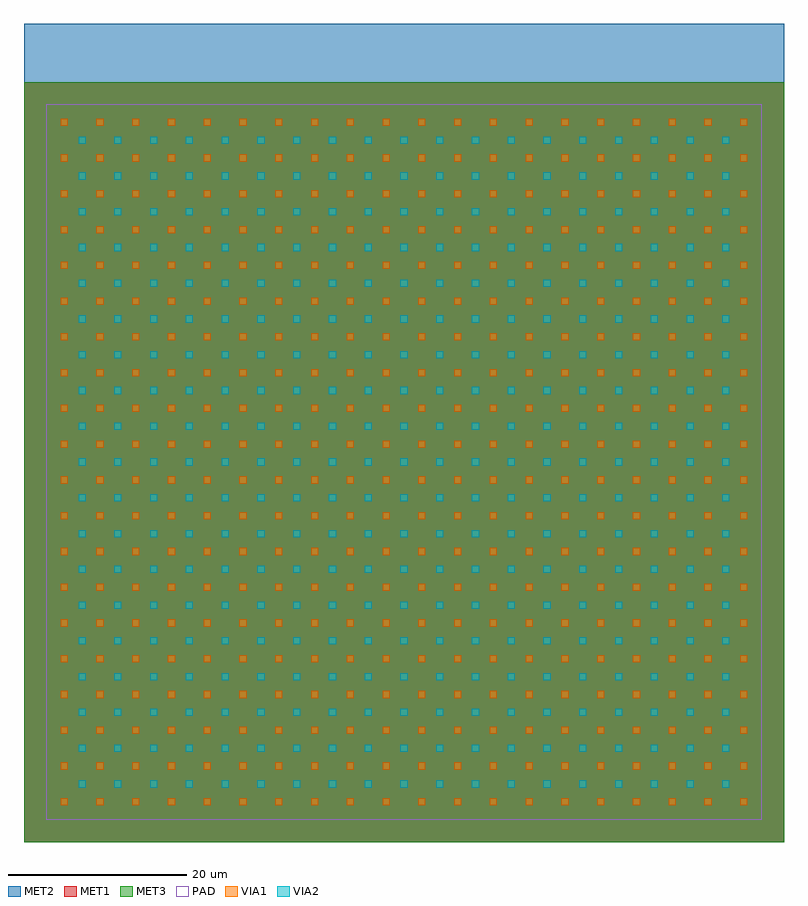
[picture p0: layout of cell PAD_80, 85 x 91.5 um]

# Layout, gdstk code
import gdstk
lib = gdstk.Library(unit=1e-6, precision=1e-09)
def R(c, l, rs):  # rectangles x0, y0, x1, y1
    for r in rs: c.add(gdstk.rectangle(r[:2], r[2:], *l))
MET1 = (32, 0)
VIA1 = (33, 0)
MET2 = (34, 0)
VIA2 = (35, 0)
MET3 = (36, 0)
PAD = (37, 0)

via2_array_cdns_70467682 = lib.new_cell('via2_array_CDNS_704676826052')
R(via2_array_cdns_70467682, MET2, [(0,0,2,2)])
R(via2_array_cdns_70467682, VIA2, [(0.6,0.6,1.4,1.4)])
R(via2_array_cdns_70467682, MET3, [(0,0,2,2)])

via1_array_cdns_70467682 = lib.new_cell('via1_array_CDNS_704676826051')
R(via1_array_cdns_70467682, MET1, [(0,0,2,2)])
R(via1_array_cdns_70467682, VIA1, [(0.6,0.6,1.4,1.4)])
R(via1_array_cdns_70467682, MET2, [(0,0,2,2)])

pad80_cdns_704676826050 = lib.new_cell('pad80_CDNS_704676826050')
R(pad80_cdns_704676826050, MET1, [(0,0,85,2.5), (0,2.5,2.5,82.5), (2.5,2.5,82.5,82.5), (82.5,2.5,85,82.5), (0,82.5,85,85)])
R(pad80_cdns_704676826050, MET2, [(0,0,85,2.5), (0,2.5,2.5,82.5), (2.5,2.5,82.5,82.5), (82.5,2.5,85,82.5), (0,82.5,85,85)])
R(pad80_cdns_704676826050, MET3, [(0,0,85,2.5), (0,2.5,2.5,82.5), (2.5,2.5,82.5,82.5), (82.5,2.5,85,82.5), (0,82.5,85,85)])
R(pad80_cdns_704676826050, PAD, [(2.5,2.5,82.5,82.5), (2.5,2.5,82.5,82.5)])
r = gdstk.Reference(via2_array_cdns_70467682, (5.5,5.5)); r.repetition = gdstk.Repetition(19, 19, v1=(4,0), v2=(0,4)); pad80_cdns_704676826050.add(r)
r = gdstk.Reference(via1_array_cdns_70467682, (3.5,3.5)); r.repetition = gdstk.Repetition(20, 20, v1=(4,0), v2=(0,4)); pad80_cdns_704676826050.add(r)

pad_80 = lib.new_cell('PAD_80')
R(pad_80, MET1, [(-40.9,-40.9,40.4,40.8)])
R(pad_80, MET2, [(-40.9,-40.9,40.4,40.8), (-42.5,42.5,42.5,49)])
R(pad_80, MET3, [(-40.9,-40.9,40.4,40.8)])
pad_80.add(gdstk.Reference(pad80_cdns_704676826050, (-42.5,-42.5)))

lib.write_gds('PAD_80.gds')
